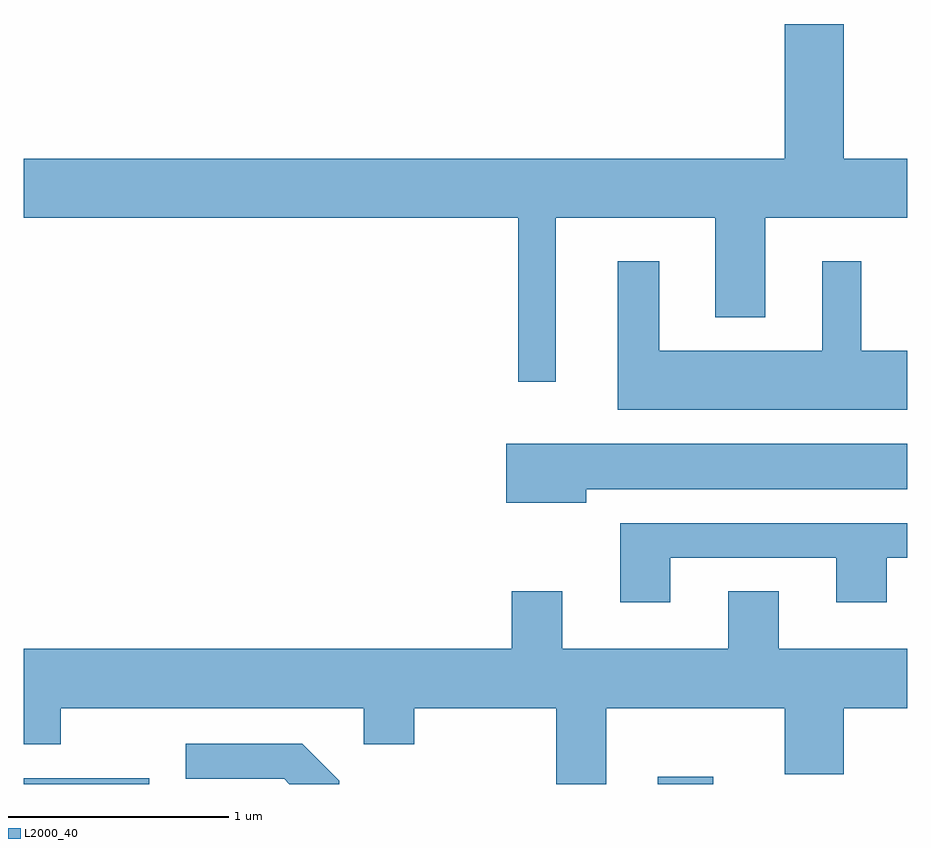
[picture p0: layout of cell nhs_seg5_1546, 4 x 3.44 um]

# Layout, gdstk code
import gdstk
lib = gdstk.Library(unit=1e-6, precision=1e-09)
def R(c, l, rs):  # rectangles x0, y0, x1, y1
    for r in rs: c.add(gdstk.rectangle(r[:2], r[2:], *l))
def P(c, l, *ps):  # polygons
    for p in ps: c.add(gdstk.Polygon(p, *l))
L2000_40 = (2000, 40)

nhs_seg5_1546 = lib.new_cell('nhs_seg5_1546')
R(nhs_seg5_1546, L2000_40, [(231.611,1392.072,232.179,1392.099), (234.481,1392.072,234.734,1392.104)])
P(nhs_seg5_1546, L2000_40, [(234.019,1394.636),(234.741,1394.636),(234.741,1394.186),(234.969,1394.186),(234.969,1394.636),(235.611,1394.636),(235.611,1394.904),(235.324,1394.904),(235.324,1395.514),(235.056,1395.514),(235.056,1394.904),(231.611,1394.904),(231.611,1394.636),(233.851,1394.636),(233.851,1393.893),(234.019,1393.893)],
  [(235.611,1394.034),(235.404,1394.034),(235.404,1394.439),(235.226,1394.439),(235.226,1394.034),(234.489,1394.034),(234.489,1394.439),(234.301,1394.439),(234.301,1393.766),(235.611,1393.766)],
  [(234.159,1393.406),(235.611,1393.406),(235.611,1393.614),(233.796,1393.614),(233.796,1393.346),(234.159,1393.346)],
  [(234.539,1393.096),(235.291,1393.096),(235.291,1392.896),(235.519,1392.896),(235.519,1393.096),(235.611,1393.096),(235.611,1393.254),(234.311,1393.254),(234.311,1392.896),(234.539,1392.896)],
  [(234.249,1392.416),(235.056,1392.416),(235.056,1392.116),(235.324,1392.116),(235.324,1392.416),(235.611,1392.416),(235.611,1392.684),(235.029,1392.684),(235.029,1392.944),(234.801,1392.944),(234.801,1392.684),(234.049,1392.684),(234.049,1392.944),(233.821,1392.944),(233.821,1392.684),(231.611,1392.684),(231.611,1392.251),(231.779,1392.251),(231.779,1392.416),(233.151,1392.416),(233.151,1392.251),(233.379,1392.251),(233.379,1392.416),(234.021,1392.416),(234.021,1392.072),(234.249,1392.072)],
  [(233.039,1392.087),(232.872,1392.254),(232.343,1392.254),(232.343,1392.096),(232.789,1392.096),(232.813,1392.072),(233.039,1392.072)])

lib.write_gds('nhs_seg5_1546.gds')
